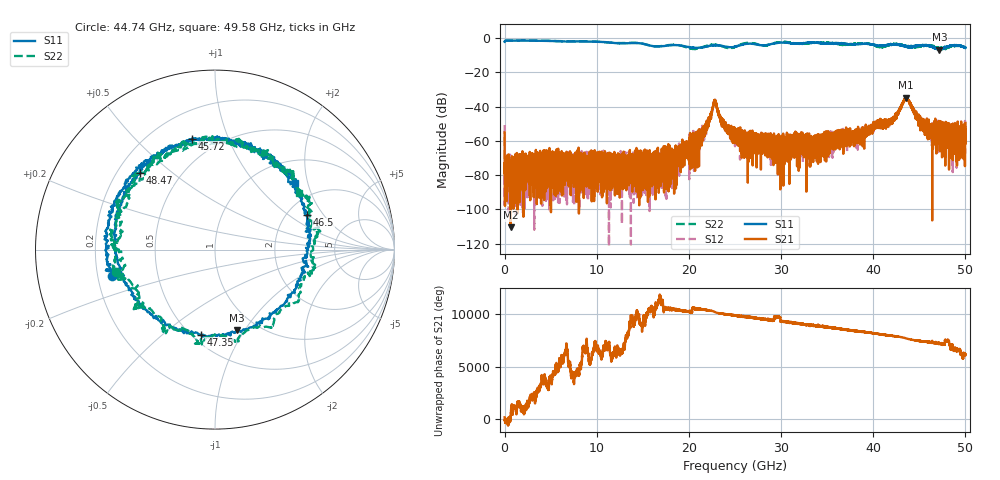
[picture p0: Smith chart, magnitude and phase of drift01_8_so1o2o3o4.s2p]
!Created with skrf (http://scikit-rf.org).
# Hz S RI R 50.0
!freq ReS11 ImS11 ReS21 ImS21 ReS12 ImS12 ReS22 ImS22
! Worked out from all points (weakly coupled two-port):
!   10001 points, 300 kHz to 50 GHz, reference 50 ohm
!   highest |S21| = -34.72 dB at 43.58 GHz (marker M1); lowest = -110.5 dB at 655.3 MHz (marker M2)
!   lowest |S11| = -6.7 dB at 47.18 GHz (marker M3), VSWR 2.73, Z = 40.4 - j46 ohm
!   |S11| at or under -10 dB: nowhere
!   |S22| runs from -6.5 to -1.4 dB; largest |S21 - S12| = 0.0043
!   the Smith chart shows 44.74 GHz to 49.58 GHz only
!   S11 on the Smith chart (normalised r, x): 44.74 GHz: 0.26, -0.12; 45.72 GHz: 0.36, +0.75; 46.5 GHz: 2.57, +1.40; 47.35 GHz: 0.55, -0.68; 48.47 GHz: 0.29, +0.39; 49.58 GHz: 1.50, +1.66
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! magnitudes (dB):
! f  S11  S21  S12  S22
! 300 kHz  -2.1  -55.0  -50.7  -2.1
! 255.3 MHz  -1.4  -79.8  -75.0  -1.4
! 655.3 MHz  -1.5  -110.5  -74.6  -1.5
! 8.335 GHz  -2.0  -79.3  -89.6  -1.8
! 16.67 GHz  -4.9  -78.3  -72.0  -4.8
! 20.87 GHz  -5.7  -59.0  -54.5  -6.2
! 21.91 GHz  -4.9  -50.9  -50.6  -4.5
! 22.8 GHz  -4.3  -36.2  -36.0  -4.0
! 23.82 GHz  -4.7  -51.4  -50.5  -5.1
! 25 GHz  -5.0  -53.9  -63.1  -5.1
! 29.65 GHz  -2.7  -79.5  -62.4  -2.5
! 33.34 GHz  -2.6  -59.7  -63.4  -2.7
! 41.67 GHz  -3.9  -48.8  -48.1  -4.4
! 43.58 GHz  -4.7  -34.7  -35.1  -4.8
! 44.74 GHz  -4.6  -44.6  -45.2  -5.0
! 45.72 GHz  -4.0  -52.8  -51.7  -4.0
! 46.5 GHz  -5.2  -51.5  -51.7  -5.1
! 47.18 GHz  -6.7  -58.2  -53.6  -6.2
! 47.35 GHz  -6.4  -59.9  -57.0  -6.1
! 48.47 GHz  -4.5  -61.9  -56.7  -5.0
! 49.58 GHz  -4.8  -58.3  -54.4  -4.9
! 50 GHz  -5.6  -49.6  -67.4  -5.4
